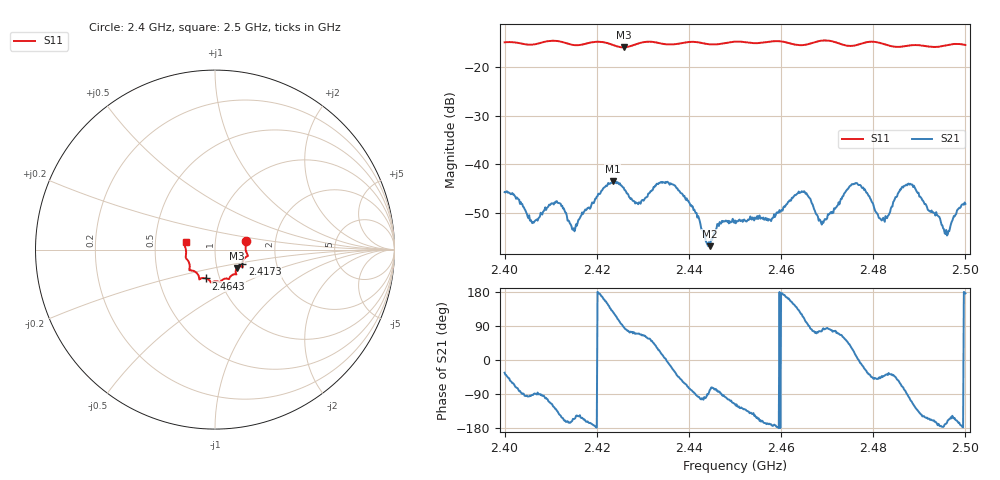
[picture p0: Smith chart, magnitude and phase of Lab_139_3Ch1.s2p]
# Hz S RI R
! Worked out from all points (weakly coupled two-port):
!   601 points, 2.4 GHz to 2.5 GHz, reference 50 ohm
!   highest |S21| = -43.45 dB at 2.4235 GHz (marker M1); lowest = -56.9 dB at 2.4445 GHz (marker M2)
!   lowest |S11| = -15.9 dB at 2.4258 GHz (marker M3), VSWR 1.38, Z = 62.3 - j13.2 ohm
!   |S11| at or under -10 dB: start of sweep to end of sweep
!   S12 and S22 are empty: the file has one direction only
!   S11 on the Smith chart (normalised r, x): 2.4 GHz: 1.41, +0.14; 2.4173 GHz: 1.34, -0.23; 2.4643 GHz: 0.86, -0.28; 2.5 GHz: 0.72, +0.06
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2.4e9  0.1733 0.0495  0.00429 -0.00286  0 0  0 0
2.406e9  0.1706 0.00136  -0.000111 -0.00247  0 0  0 0
2.411333e9  0.1826 -0.0351  -0.00287 -0.00301  0 0  0 0
2.414833e9  0.1603 -0.054  -0.00192 -0.000881  0 0  0 0
2.416667e9  0.153 -0.0743  -0.00266 -0.00135  0 0  0 0
2.417333e9  0.1522 -0.0818  -0.00302 -0.00129  0 0  0 0
2.4235e9  0.1413 -0.0935  -0.00403 0.00538  0 0  0 0
2.425833e9  0.1218 -0.1034  0.00027 0.00574  0 0  0 0
2.429e9  0.1159 -0.1312  0.00135 0.00363  0 0  0 0
2.433333e9  0.113 -0.137  0.00557 0.0028  0 0  0 0
2.439e9  0.0808 -0.1594  0.00228 -0.00414  0 0  0 0
2.4445e9  0.0596 -0.1611  0.000251 -0.00141  0 0  0 0
2.45e9  0.0294 -0.1806  -0.00117 -0.00236  0 0  0 0
2.457667e9  -0.017 -0.1824  -0.00264 -0.000474  0 0  0 0
2.464333e9  -0.05 -0.1606  -0.00268 0.0044  0 0  0 0
2.466667e9  -0.0758 -0.1598  0.000664 0.0039  0 0  0 0
2.469167e9  -0.0876 -0.1666  0.000274 0.00247  0 0  0 0
2.476333e9  -0.1199 -0.1185  0.00631 0.00106  0 0  0 0
2.483333e9  -0.1407 -0.0898  0.00246 -0.00169  0 0  0 0
2.487667e9  -0.1585 -0.0525  -0.000774 -0.00626  0 0  0 0
2.496e9  -0.1671 0.0193  -0.00178 -0.000459  0 0  0 0
2.5e9  -0.1637 0.0422  -0.00389 0.000287  0 0  0 0
